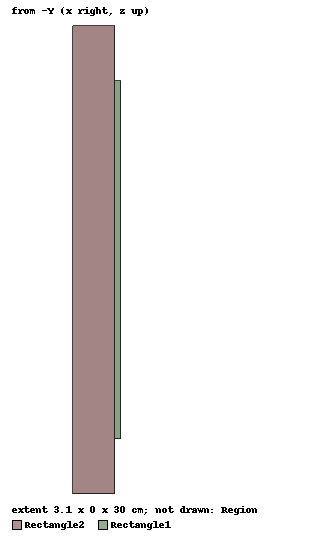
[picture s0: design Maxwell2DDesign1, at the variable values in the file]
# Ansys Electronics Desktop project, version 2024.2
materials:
  vacuum: permittivity=1
  copper: permeability=0.999991 conductivity=58000000
  air: permittivity=1.0006 permeability=1.0000004
  iron: permeability=4000 conductivity=10300000

design Maxwell2DDesign1 (Maxwell 2D, EddyCurrent, about Z geometry, model units cm)
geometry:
  Rectangle1 [copper] = rectangle(corner=(2.7cm, 0cm, -11.5cm), z_size=23cm, x_size=0.4cm)
  Rectangle2 [iron] = rectangle(corner=(0cm, 0cm, -15cm), z_size=30cm, x_size=2.7cm)
  Region [air] = region(percentage_offset: +X=100, -X=100, +Y=0, -Y=0, +Z=100, -Z=100)
  Polyline1 [non-model] = polyline((0cm, 0cm, -20cm) (0cm, 0cm, 20cm))
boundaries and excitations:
  Balloon1: Balloon Edges=Region.edge(at (3.1, 0, 45), at (6.2, 0, 0), at (3.1, 0, -45))
  Symmetry1: Symmetry Edges=Region.edge(at (0, 0, 0)) IsOdd=true
  Rectangle1: Coil Objects=Rectangle1 Conductor_number=1860 Winding=Winding1 PolarityType=Positive
  Winding1: Winding Group Type=Current IsSolid=false Current=0.5A ParallelBranchesNum=1 Phase=0deg
  eddy effects on: Rectangle1, Rectangle2
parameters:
  Matrix1: Matrix Winding1:
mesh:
  initial mesh: GlobalSurfApproximation{CurvedSurfaceApproxChoice=UseSlider SliderMeshSettings=7}
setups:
  Setup1: EddyCurrent MaximumPasses=10 MinimumPasses=2 MinimumConvergedPasses=1 PercentRefinement=30 PercentError=1 NonLinearResidual=0.0001 Frequency=50Hz
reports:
  Calculator Expressions Plot 1: Mag_H vs Distance on Setup1 : LastAdaptive [Freq=all Phase=0deg]
